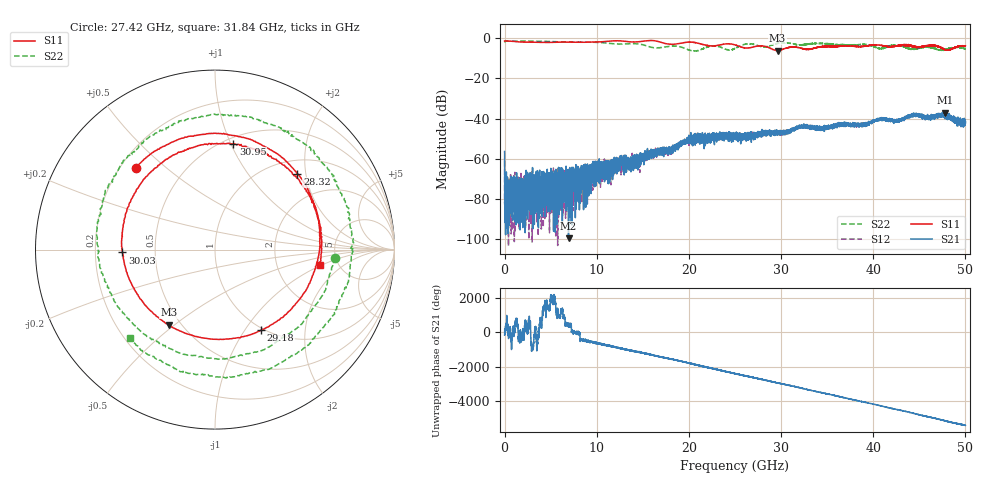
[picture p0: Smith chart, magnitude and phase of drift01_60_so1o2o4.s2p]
!Created with skrf (http://scikit-rf.org).
# Hz S RI R 50.0
!freq ReS11 ImS11 ReS21 ImS21 ReS12 ImS12 ReS22 ImS22
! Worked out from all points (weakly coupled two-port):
!   10001 points, 300 kHz to 50 GHz, reference 50 ohm
!   highest |S21| = -36.94 dB at 47.78 GHz (marker M1); lowest = -99.3 dB at 6.935 GHz (marker M2)
!   lowest |S11| = -6.2 dB at 29.62 GHz (marker M3), VSWR 2.94, Z = 21.6 - j23.8 ohm
!   |S11| at or under -10 dB: nowhere
!   |S22| runs from -6.4 to -1.4 dB; largest |S21 - S12| = 0.0033
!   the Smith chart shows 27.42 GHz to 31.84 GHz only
!   S11 on the Smith chart (normalised r, x): 27.42 GHz: 0.26, +0.40; 28.32 GHz: 1.30, +1.79; 29.18 GHz: 0.97, -1.19; 30.03 GHz: 0.32, -0.01; 30.95 GHz: 0.56, +1.02; 31.84 GHz: 3.60, -0.97
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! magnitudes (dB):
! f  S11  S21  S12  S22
! 300 kHz  -1.3  -56.3  -60.9  -2.1
! 255.3 MHz  -1.4  -78.7  -80.9  -1.4
! 335.3 MHz  -1.4  -87.7  -89.1  -1.4
! 4.375 GHz  -2.1  -70.4  -78.2  -1.5
! 6.935 GHz  -1.9  -99.3  -69.3  -1.9
! 8.335 GHz  -2.0  -63.3  -70.1  -1.8
! 10.04 GHz  -1.8  -68.1  -68.2  -2.1
! 16.67 GHz  -1.6  -54.7  -57.3  -4.8
! 20.17 GHz  -1.9  -51.7  -49.6  -6.1
! 22.62 GHz  -3.8  -50.6  -49.1  -3.8
! 25 GHz  -3.3  -47.8  -48.1  -5.0
! 27.42 GHz  -4.0  -47.7  -48.1  -3.5
! 28.32 GHz  -4.1  -47.9  -48.2  -4.3
! 29.18 GHz  -5.7  -47.6  -46.7  -3.0
! 29.62 GHz  -6.2  -48.0  -48.2  -2.6
! 30.03 GHz  -5.7  -46.6  -46.4  -2.3
! 30.95 GHz  -4.5  -45.6  -46.3  -2.5
! 31.84 GHz  -4.6  -44.2  -44.7  -3.3
! 33.34 GHz  -5.2  -44.6  -44.4  -2.6
! 41.67 GHz  -4.4  -40.9  -41.0  -4.0
! 47.78 GHz  -5.7  -36.9  -38.6  -5.8
! 50 GHz  -3.8  -41.7  -42.1  -5.2
